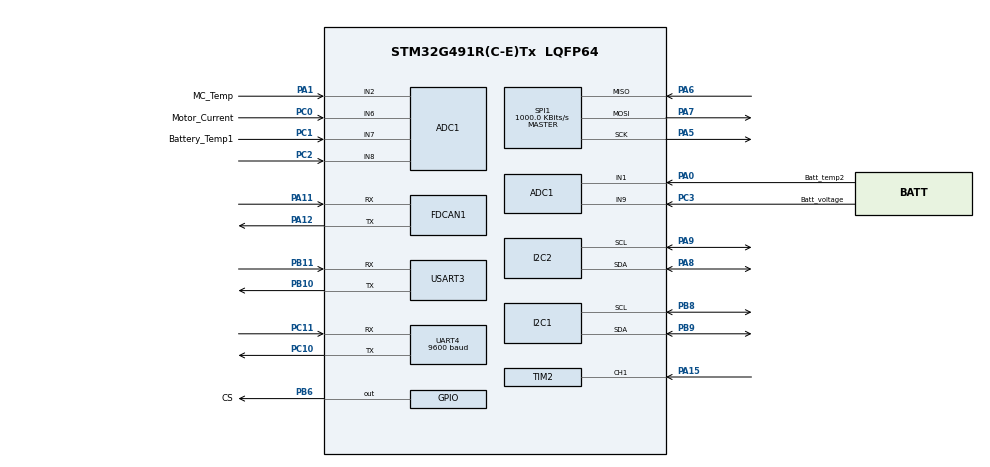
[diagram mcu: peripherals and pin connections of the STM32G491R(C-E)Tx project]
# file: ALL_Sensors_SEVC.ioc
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ADC1.Channel-13\#ChannelRegularConversion=ADC_CHANNEL_VREFINT
ADC1.Channel-14\#ChannelRegularConversion=ADC_CHANNEL_6
ADC1.Channel-15\#ChannelRegularConversion=ADC_CHANNEL_8
ADC1.Channel-16\#ChannelRegularConversion=ADC_CHANNEL_9
ADC1.Channel-17\#ChannelRegularConversion=ADC_CHANNEL_2
ADC1.Channel-18\#ChannelRegularConversion=ADC_CHANNEL_7
ADC1.Channel-19\#ChannelRegularConversion=ADC_CHANNEL_1
ADC1.NbrOfConversion=7
ADC1.NbrOfConversionFlag=1
ADC1.OffsetNumber-13\#ChannelRegularConversion=ADC_OFFSET_NONE
ADC1.OffsetNumber-14\#ChannelRegularConversion=ADC_OFFSET_NONE
ADC1.OffsetNumber-15\#ChannelRegularConversion=ADC_OFFSET_NONE
ADC1.OffsetNumber-16\#ChannelRegularConversion=ADC_OFFSET_NONE
ADC1.OffsetNumber-17\#ChannelRegularConversion=ADC_OFFSET_NONE
ADC1.OffsetNumber-18\#ChannelRegularConversion=ADC_OFFSET_NONE
ADC1.OffsetNumber-19\#ChannelRegularConversion=ADC_OFFSET_NONE
ADC1.Rank-13\#ChannelRegularConversion=1
ADC1.Rank-14\#ChannelRegularConversion=2
ADC1.Rank-15\#ChannelRegularConversion=3
ADC1.Rank-16\#ChannelRegularConversion=4
ADC1.Rank-17\#ChannelRegularConversion=5
ADC1.Rank-18\#ChannelRegularConversion=6
ADC1.Rank-19\#ChannelRegularConversion=7
ADC1.SamplingTime-13\#ChannelRegularConversion=ADC_SAMPLETIME_640CYCLES_5
ADC1.SamplingTime-14\#ChannelRegularConversion=ADC_SAMPLETIME_640CYCLES_5
ADC1.SamplingTime-15\#ChannelRegularConversion=ADC_SAMPLETIME_640CYCLES_5
ADC1.SamplingTime-16\#ChannelRegularConversion=ADC_SAMPLETIME_640CYCLES_5
ADC1.SamplingTime-17\#ChannelRegularConversion=ADC_SAMPLETIME_640CYCLES_5
ADC1.SamplingTime-18\#ChannelRegularConversion=ADC_SAMPLETIME_640CYCLES_5
ADC1.SamplingTime-19\#ChannelRegularConversion=ADC_SAMPLETIME_640CYCLES_5
ADC1.master=1
Dma.ADC1.0.Direction=DMA_PERIPH_TO_MEMORY
Dma.ADC1.0.EventEnable=DISABLE
Dma.ADC1.0.Instance=DMA1_Channel1
Dma.ADC1.0.MemDataAlignment=DMA_MDATAALIGN_HALFWORD
Dma.ADC1.0.MemInc=DMA_MINC_ENABLE
Dma.ADC1.0.Mode=DMA_NORMAL
Dma.ADC1.0.PeriphDataAlignment=DMA_PDATAALIGN_HALFWORD
Dma.ADC1.0.PeriphInc=DMA_PINC_DISABLE
Dma.ADC1.0.Polarity=HAL_DMAMUX_REQ_GEN_RISING
Dma.ADC1.0.Priority=DMA_PRIORITY_HIGH
Dma.ADC1.0.RequestNumber=1
Dma.ADC1.0.SignalID=NONE
Dma.ADC1.0.SyncEnable=DISABLE
Dma.ADC1.0.SyncPolarity=HAL_DMAMUX_SYNC_NO_EVENT
Dma.ADC1.0.SyncRequestNumber=1
Dma.ADC1.0.SyncSignalID=NONE
Dma.Request0=ADC1
Dma.Request1=UART4_RX
Dma.Request2=UART4_TX
Dma.Request3=SPI1_RX
Dma.Request4=SPI1_TX
Dma.Request5=TIM2_CH1
Dma.SPI1_RX.3.Direction=DMA_PERIPH_TO_MEMORY
Dma.SPI1_RX.3.EventEnable=DISABLE
Dma.SPI1_RX.3.Instance=DMA1_Channel4
Dma.SPI1_RX.3.MemDataAlignment=DMA_MDATAALIGN_BYTE
Dma.SPI1_RX.3.MemInc=DMA_MINC_ENABLE
Dma.SPI1_RX.3.Mode=DMA_NORMAL
Dma.SPI1_RX.3.PeriphDataAlignment=DMA_PDATAALIGN_BYTE
Dma.SPI1_RX.3.PeriphInc=DMA_PINC_DISABLE
Dma.SPI1_RX.3.Polarity=HAL_DMAMUX_REQ_GEN_RISING
Dma.SPI1_RX.3.Priority=DMA_PRIORITY_LOW
Dma.SPI1_RX.3.RequestNumber=1
Dma.SPI1_RX.3.SignalID=NONE
Dma.SPI1_RX.3.SyncEnable=DISABLE
Dma.SPI1_RX.3.SyncPolarity=HAL_DMAMUX_SYNC_NO_EVENT
Dma.SPI1_RX.3.SyncRequestNumber=1
Dma.SPI1_RX.3.SyncSignalID=NONE
Dma.SPI1_TX.4.Direction=DMA_MEMORY_TO_PERIPH
Dma.SPI1_TX.4.EventEnable=DISABLE
Dma.SPI1_TX.4.Instance=DMA1_Channel5
Dma.SPI1_TX.4.MemDataAlignment=DMA_MDATAALIGN_BYTE
Dma.SPI1_TX.4.MemInc=DMA_MINC_ENABLE
Dma.SPI1_TX.4.Mode=DMA_NORMAL
Dma.SPI1_TX.4.PeriphDataAlignment=DMA_PDATAALIGN_BYTE
Dma.SPI1_TX.4.PeriphInc=DMA_PINC_DISABLE
Dma.SPI1_TX.4.Polarity=HAL_DMAMUX_REQ_GEN_RISING
Dma.SPI1_TX.4.Priority=DMA_PRIORITY_VERY_HIGH
Dma.SPI1_TX.4.RequestNumber=1
Dma.SPI1_TX.4.SignalID=NONE
Dma.SPI1_TX.4.SyncEnable=DISABLE
Dma.SPI1_TX.4.SyncPolarity=HAL_DMAMUX_SYNC_NO_EVENT
Dma.SPI1_TX.4.SyncRequestNumber=1
Dma.SPI1_TX.4.SyncSignalID=NONE
Dma.TIM2_CH1.5.Direction=DMA_PERIPH_TO_MEMORY
Dma.TIM2_CH1.5.EventEnable=DISABLE
Dma.TIM2_CH1.5.Instance=DMA1_Channel6
Dma.TIM2_CH1.5.MemDataAlignment=DMA_MDATAALIGN_WORD
Dma.TIM2_CH1.5.MemInc=DMA_MINC_ENABLE
Dma.TIM2_CH1.5.Mode=DMA_CIRCULAR
Dma.TIM2_CH1.5.PeriphDataAlignment=DMA_PDATAALIGN_WORD
Dma.TIM2_CH1.5.PeriphInc=DMA_PINC_DISABLE
Dma.TIM2_CH1.5.Polarity=HAL_DMAMUX_REQ_GEN_RISING
Dma.TIM2_CH1.5.Priority=DMA_PRIORITY_LOW
Dma.TIM2_CH1.5.RequestNumber=1
Dma.TIM2_CH1.5.SignalID=NONE
Dma.TIM2_CH1.5.SyncEnable=DISABLE
Dma.TIM2_CH1.5.SyncPolarity=HAL_DMAMUX_SYNC_NO_EVENT
Dma.TIM2_CH1.5.SyncRequestNumber=1
Dma.TIM2_CH1.5.SyncSignalID=NONE
Dma.UART4_RX.1.Direction=DMA_PERIPH_TO_MEMORY
Dma.UART4_RX.1.EventEnable=DISABLE
Dma.UART4_RX.1.Instance=DMA1_Channel2
Dma.UART4_RX.1.MemDataAlignment=DMA_MDATAALIGN_BYTE
Dma.UART4_RX.1.MemInc=DMA_MINC_ENABLE
Dma.UART4_RX.1.Mode=DMA_NORMAL
Dma.UART4_RX.1.PeriphDataAlignment=DMA_PDATAALIGN_BYTE
Dma.UART4_RX.1.PeriphInc=DMA_PINC_DISABLE
Dma.UART4_RX.1.Polarity=HAL_DMAMUX_REQ_GEN_RISING
Dma.UART4_RX.1.Priority=DMA_PRIORITY_MEDIUM
Dma.UART4_RX.1.RequestNumber=1
Dma.UART4_RX.1.SignalID=NONE
Dma.UART4_RX.1.SyncEnable=DISABLE
Dma.UART4_RX.1.SyncPolarity=HAL_DMAMUX_SYNC_NO_EVENT
Dma.UART4_RX.1.SyncRequestNumber=1
Dma.UART4_RX.1.SyncSignalID=NONE
Dma.UART4_TX.2.Direction=DMA_MEMORY_TO_PERIPH
Dma.UART4_TX.2.EventEnable=DISABLE
Dma.UART4_TX.2.Instance=DMA1_Channel3
Dma.UART4_TX.2.MemDataAlignment=DMA_MDATAALIGN_BYTE
Dma.UART4_TX.2.MemInc=DMA_MINC_ENABLE
Dma.UART4_TX.2.Mode=DMA_NORMAL
Dma.UART4_TX.2.PeriphDataAlignment=DMA_PDATAALIGN_BYTE
Dma.UART4_TX.2.PeriphInc=DMA_PINC_DISABLE
Dma.UART4_TX.2.Polarity=HAL_DMAMUX_REQ_GEN_RISING
Dma.UART4_TX.2.Priority=DMA_PRIORITY_MEDIUM
Dma.UART4_TX.2.RequestNumber=1
Dma.UART4_TX.2.SignalID=NONE
Dma.UART4_TX.2.SyncEnable=DISABLE
Dma.UART4_TX.2.SyncPolarity=HAL_DMAMUX_SYNC_NO_EVENT
Dma.UART4_TX.2.SyncRequestNumber=1
Dma.UART4_TX.2.SyncSignalID=NONE
FATFS._USE_LABEL=1
FATFS._USE_LFN=3
FDCAN1.AutoRetransmission=ENABLE
FDCAN1.CalculateBaudRateNominal=62500
FDCAN1.CalculateTimeBitNominal=16000
FDCAN1.CalculateTimeQuantumNominal=500.0
FDCAN1.DataPrescaler=8
FDCAN1.DataTimeSeg1=2
FDCAN1.FrameFormat=FDCAN_FRAME_FD_NO_BRS
FDCAN1.NominalPrescaler=8
FDCAN1.NominalSyncJumpWidth=5
FDCAN1.NominalTimeSeg1=26
FDCAN1.NominalTimeSeg2=5
FDCAN1.StdFiltersNbr=1
I2C1.Timing=0x00503D58
I2C2.Timing=0x00503D58
Mcu.Family=STM32G4
Mcu.Name=STM32G491R(C-E)Tx
Mcu.Package=LQFP64
NVIC.DMA1_Channel1_IRQn=true\:0\:0\:false\:false\:true\:false\:true\:true
NVIC.DMA1_Channel2_IRQn=true\:0\:0\:false\:false\:true\:false\:true\:true
NVIC.DMA1_Channel3_IRQn=true\:0\:0\:false\:false\:true\:false\:true\:true
NVIC.DMA1_Channel4_IRQn=true\:0\:0\:false\:false\:true\:false\:true\:true
NVIC.DMA1_Channel5_IRQn=true\:0\:0\:false\:false\:true\:false\:true\:true
NVIC.DMA1_Channel6_IRQn=true\:0\:0\:false\:false\:true\:false\:true\:true
NVIC.FDCAN1_IT0_IRQn=true\:0\:0\:false\:false\:true\:true\:true\:true
NVIC.I2C2_ER_IRQn=true\:0\:0\:false\:false\:true\:true\:true\:true
NVIC.I2C2_EV_IRQn=true\:0\:0\:false\:false\:true\:true\:true\:true
NVIC.PriorityGroup=NVIC_PRIORITYGROUP_4
PA0.GPIO_Label=Batt_temp2
PA0.Mode=IN1-Single-Ended
PA0.Signal=ADC1_IN1
PA1.GPIO_Label=MC_Temp
PA1.Mode=IN2-Single-Ended
PA1.Signal=ADC1_IN2
PA11.Mode=FDCAN_Activate
PA11.Signal=FDCAN1_RX
PA12.Mode=FDCAN_Activate
PA12.Signal=FDCAN1_TX
PA13.Mode=Serial_Wire
PA13.Signal=SYS_JTMS-SWDIO
PA14.Mode=Serial_Wire
PA14.Signal=SYS_JTCK-SWCLK
PA15.Signal=S_TIM2_CH1
PA5.Mode=Full_Duplex_Master
PA5.Signal=SPI1_SCK
PA6.Mode=Full_Duplex_Master
PA6.Signal=SPI1_MISO
PA7.Mode=Full_Duplex_Master
PA7.Signal=SPI1_MOSI
PA8.GPIO_Pu=GPIO_PULLUP
PA8.GPIO_Speed=GPIO_SPEED_FREQ_VERY_HIGH
PA8.Mode=I2C
PA8.Signal=I2C2_SDA
PA9.GPIO_Pu=GPIO_PULLUP
PA9.GPIO_Speed=GPIO_SPEED_FREQ_VERY_HIGH
PA9.Mode=I2C
PA9.Signal=I2C2_SCL
PB10.Mode=Asynchronous
PB10.Signal=USART3_TX
PB11.Mode=Asynchronous
PB11.Signal=USART3_RX
PB6.GPIO_Label=CS
PB6.GPIO_Speed=GPIO_SPEED_FREQ_HIGH
PB6.PinState=GPIO_PIN_SET
PB6.Signal=GPIO_Output
PB8-BOOT0.GPIO_FM8=__NULL
PB8-BOOT0.GPIO_Pu=GPIO_PULLUP
PB8-BOOT0.GPIO_Speed=GPIO_SPEED_FREQ_VERY_HIGH
PB8-BOOT0.Mode=I2C
PB8-BOOT0.Signal=I2C1_SCL
PB9.GPIO_FM9=__NULL
PB9.GPIO_Mode=GPIO_MODE_AF_OD
PB9.GPIO_Pu=GPIO_PULLUP
PB9.GPIO_Speed=GPIO_SPEED_FREQ_VERY_HIGH
PB9.Mode=I2C
PB9.Signal=I2C1_SDA
PC0.GPIO_Label=Motor_Current
PC0.Mode=IN6-Single-Ended
PC0.Signal=ADC1_IN6
PC1.GPIO_Label=Battery_Temp1
PC1.Mode=IN7-Single-Ended
PC1.Signal=ADC1_IN7
PC10.Mode=Asynchronous
PC10.Signal=UART4_TX
PC11.Mode=Asynchronous
PC11.Signal=UART4_RX
PC2.Mode=IN8-Single-Ended
PC2.Signal=ADC1_IN8
PC3.GPIO_Label=Batt_voltage
PC3.Mode=IN9-Single-Ended
PC3.Signal=ADC1_IN9
ProjectManager.HeapSize=0x200
ProjectManager.StackSize=0x400
ProjectManager.TargetToolchain=STM32CubeIDE
RCC.ADC12Freq_Value=16000000
RCC.ADC345Freq_Value=16000000
RCC.AHBFreq_Value=16000000
RCC.APB1Freq_Value=16000000
RCC.APB1TimFreq_Value=16000000
RCC.APB2Freq_Value=16000000
RCC.APB2TimFreq_Value=16000000
RCC.CortexFreq_Value=16000000
RCC.EXTERNAL_CLOCK_VALUE=12288000
RCC.HCLKFreq_Value=16000000
RCC.HSE_VALUE=24000000
RCC.HSI48_VALUE=48000000
RCC.HSI_VALUE=16000000
RCC.LSE_VALUE=32768
RCC.PLLM=RCC_PLLM_DIV4
RCC.PLLN=85
RCC.RTCClockSelection=RCC_RTCCLKSOURCE_LSE
RCC.SYSCLKFreq_VALUE=16000000
RCC.USBFreq_Value=48000000
RCC.VCOOutputFreq_Value=340000000
SH.S_TIM2_CH1.0=TIM2_CH1,Input_Capture1_from_TI1
SPI1.BaudRatePrescaler=SPI_BAUDRATEPRESCALER_16
SPI1.CalculateBaudRate=1000.0 KBits/s
SPI1.DataSize=SPI_DATASIZE_8BIT
SPI1.Direction=SPI_DIRECTION_2LINES
SPI1.Mode=SPI_MODE_MASTER
SPI1.VirtualType=VM_MASTER
TIM2.Channel-Input_Capture1_from_TI1=TIM_CHANNEL_1
TIM2.PeriodNoDither=65535
TIM2.Prescaler=15
TIM3.AutoReloadPreload=TIM_AUTORELOAD_PRELOAD_ENABLE
TIM3.PeriodNoDither=199
TIM3.Prescaler=15999
TIM3.TIM_MasterOutputTrigger=TIM_TRGO_UPDATE
UART4.BaudRate=9600
USART3.VirtualMode-Asynchronous=VM_ASYNC
VP_ADC1_Vref_Input.Mode=IN-Vrefint
VP_FATFS_VS_Generic.Mode=User_defined
VP_SYS_VS_DBSignals.Mode=DisableDeadBatterySignals
VP_TIM3_VS_ClockSourceINT.Mode=Internal
board=NUCLEO-G491RE

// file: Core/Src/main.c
	/* USER CODE BEGIN Header */
	/**
	  ******************************************************************************
	  * @file           : main.c
	  * @brief          : Main program body
	  ******************************************************************************
	  * @attention
	  *
	  * Copyright (c) 2025 STMicroelectronics.
	  * All rights reserved.
	  *
	  * This software is licensed under terms that can be found in the LICENSE file
	  * in the root directory of this software component.
	  * If no LICENSE file comes with this software, it is provided AS-IS.
	  *
	  ******************************************************************************
	  */
	/* USER CODE END Header */
	/* Includes ------------------------------------------------------------------*/
	#include "main.h"
	#include "app_fatfs.h"

	/* Private includes ----------------------------------------------------------*/
	/* USER CODE BEGIN Includes */
	#include <motor_temp.h>
	//#include <analog_sensor.h>
	//#include <rpm.h>
	#include <imu.h>
	#include <bms.h>
	#include <a_sensor.h>
	#include "sd_functions.h"
	#include "stdio.h"
	#define CAPTURE_BUF_LEN 8
	#define RPM_TIMEOUT_MS 2500
	#define pulseonerev 6
	/* USER CODE END Includes */

	/* Private typedef -----------------------------------------------------------*/

	/* Private define ------------------------------------------------------------*/

	/* Private macro -------------------------------------------------------------*/

	/* Private variables ---------------------------------------------------------*/
	ADC_HandleTypeDef hadc1;
	DMA_HandleTypeDef hdma_adc1;

	FDCAN_HandleTypeDef hfdcan1;

	I2C_HandleTypeDef hi2c1;
	I2C_HandleTypeDef hi2c2;

	SPI_HandleTypeDef hspi1;
	DMA_HandleTypeDef hdma_spi1_rx;
	DMA_HandleTypeDef hdma_spi1_tx;

	TIM_HandleTypeDef htim2;
	TIM_HandleTypeDef htim3;
	DMA_HandleTypeDef hdma_tim2_ch1;

	UART_HandleTypeDef huart4;
	UART_HandleTypeDef huart3;
	DMA_HandleTypeDef hdma_uart4_rx;
	DMA_HandleTypeDef hdma_uart4_tx;

	/* Private function prototypes -----------------------------------------------*/
	void SystemClock_Config(void);
	static void MX_GPIO_Init(void);
	static void MX_DMA_Init(void);
	static void MX_I2C1_Init(void);
	static void MX_ADC1_Init(void);
	static void MX_TIM2_Init(void);
	static void MX_TIM3_Init(void);
	static void MX_UART4_Init(void);
	static void MX_I2C2_Init(void);
	static void MX_FDCAN1_Init(void);
	static void MX_SPI1_Init(void);
	static void MX_USART3_UART_Init(void);

	/* Private user code ---------------------------------------------------------*/
	/* USER CODE BEGIN 0 */

	extern float totalVoltage;
	extern float soc;
	int motor_temp;
	extern uint8_t motor_current;
	int i=0;
	FRESULT mount_sd;
	FRESULT unmount_sd;
	FDCAN_TxHeaderTypeDef TxHeader;
	FDCAN_RxHeaderTypeDef RxHeader;
	uint8_t TxData[16];
	uint8_t RxData[16];
	void HAL_FDCAN_RxFifo0Callback(FDCAN_HandleTypeDef *hfdcan, uint32_t RxFifo0ITs)
	{

		if(HAL_FDCAN_GetRxMessage(hfdcan,FDCAN_RX_FIFO0,&RxHeader,RxData)!=HAL_OK)
		{
			Error_Handler();
		}
		if(HAL_FDCAN_ActivateNotification(hfdcan,FDCAN_IT_RX_FIFO0_NEW_MESSAGE,0)!=HAL_OK)
			{
				Error_Handler();
			}
	}
	//rpm
	//
		volatile uint16_t ic_buf[CAPTURE_BUF_LEN];
		volatile uint8_t edge_seen = 0;

		volatile uint32_t period_us = 0;
		volatile float rpm = 0.0f;
		volatile uint32_t last_edge_tick = 0;
		uint16_t rpm_int=0;
		void Process_DMA_Captures(uint8_t start, uint8_t end)
		{
			static uint16_t last_capture;
			static uint8_t first = 1;

			uint32_t sum_dt = 0;
			uint32_t edges = 0;

			for (uint8_t i = start; i < end; i++)
			{
				uint16_t now = ic_buf[i];

				if (first)
				{
					last_capture = now;
					first = 0;
					continue;
				}

				uint16_t dt = (uint16_t)(now - last_capture);
				last_capture = now;

				if (dt)
				{
					sum_dt += dt;
					edges++;
				}
			}

			if (edges)
			{
				float avg_ticks = (float)sum_dt / edges;
				rpm = 60.0f * 1e6f / (avg_ticks*pulseonerev);
				last_edge_tick = HAL_GetTick();
			}
		}
		void HAL_TIM_IC_CaptureHalfCpltCallback(TIM_HandleTypeDef *htim)
		{
		    if (htim->Instance == TIM2)
		    {

		        Process_DMA_Captures(0, CAPTURE_BUF_LEN / 2);

		    }
		}

		void HAL_TIM_IC_CaptureCpltCallback(TIM_HandleTypeDef *htim)
		{
		    if (htim->Instance == TIM2)
		    {

		        Process_DMA_Captures(CAPTURE_BUF_LEN / 2, CAPTURE_BUF_LEN);

		    }
		}
	//
	/* USER CODE END 0 */

	/**
	  * @brief  The application entry point.
	  * @retval int
	  */
	int main(void)
	{

	  /* MCU Configuration--------------------------------------------------------*/

	  /* Reset of all peripherals, Initializes the Flash interface and the Systick. */
	  HAL_Init();

	  /* Configure the system clock */
	  SystemClock_Config();

	  /* Initialize all configured peripherals */
	  MX_GPIO_Init();
	  MX_DMA_Init();
	  MX_I2C1_Init();
	  MX_ADC1_Init();
	  MX_TIM2_Init();
	  MX_TIM3_Init();
	  MX_UART4_Init();
	  MX_I2C2_Init();
	  MX_FDCAN1_Init();
	  MX_SPI1_Init();
	  MX_USART3_UART_Init();
	  /* USER CODE BEGIN 2 */
	  //can
	  if (HAL_FDCAN_Start(&hfdcan1)!=HAL_OK)
		   {
			Error_Handler();
		   }
		   if(HAL_FDCAN_ActivateNotification(&hfdcan1,FDCAN_IT_RX_FIFO0_NEW_MESSAGE,0)!=HAL_OK)
		   {
			Error_Handler();
		   }

		   TxHeader.Identifier =0x33;
		   TxHeader.IdType =FDCAN_STANDARD_ID;
		   TxHeader.DataLength =FDCAN_DLC_BYTES_16;
		   TxHeader.ErrorStateIndicator =FDCAN_ESI_ACTIVE;
		   TxHeader.BitRateSwitch =FDCAN_BRS_OFF;
		   TxHeader.FDFormat =FDCAN_FD_CAN;
		   TxHeader.TxEventFifoControl =FDCAN_NO_TX_EVENTS;
		   TxHeader.MessageMarker=0;

	//
	 // test_imu();
	  set_mode();
	  HAL_ADCEx_Calibration_Start(&hadc1, ADC_SINGLE_ENDED);
	  //start_timer();
	  //sensor_calliberation();
	  HAL_TIM_IC_Start_DMA(
			  &htim2,
			  TIM_CHANNEL_1,
			  (uint32_t*)ic_buf,
			  CAPTURE_BUF_LEN
		  );
	  //
	  //sd card
	  //
	 mount_sd=sd_mount();

	  //sd_unmount();
	  HAL_Delay(1000);
	  //start_timer();
	  //HAL_TIM_Base_Start_IT(&htim3);
	  /* USER CODE END 2 */

	  /* Infinite loop */
	  while (1)
	  {

		/* USER CODE BEGIN 3 */

		  Calculate_Vref();
		  a_sensor_value ();
		  readBasicInfo();
		  get_motor_temp(&motor_temp);
		  //get_rpm();
		  get_imu_data();
		  if (HAL_GetTick() - last_edge_tick > RPM_TIMEOUT_MS)
														{
															rpm = 0.0f;
														}

	TxData[0]=((int)rpm & 0xFF);
	TxData[1]=(((int)rpm >> 8) & 0xFF);
	TxData[2]=totalVoltage;
	TxData[3]=bt1;
	TxData[4]=bt2;
	TxData[5]=soc;
	TxData[6]=((int)moc & 0xFF);
	TxData[7]=(((int)moc >> 8) & 0xFF);
	TxData[8]=motor_temp;
	TxData[9]=mct;

		  if (HAL_FDCAN_AddMessageToTxFifoQ(&hfdcan1, &TxHeader, TxData)!= HAL_OK)
															   {
												//watchdog
															   }

		  char logbuf[320];

		  snprintf(logbuf, sizeof(logbuf),
			  "MOC:%.2f ,MPPTC:%.2f ,BV:%.2f, MCT:%.1f, BT1:%.1f, BT2:%.1f,MPPTCF:%.2f,VREF:%.2f,TV:%.2f,SOC:%.2f,"
			  ",AX:%.4f,AY:%.4f,AZ:%.4f,YAW:%.4f,ROLL:%.4f,PITCH:%.4f,RPM:%.0f,MT:%d,LAT:  %d  %d  %d%d%d%d,LON:  %d  %d%d  %d%d%d%d\r\n",
			  moc, mpptc, bv, mct, bt1, bt2, mpptcf, vref_voltage, totalVoltage,
			  soc,
			  acc_x, acc_y, acc_z,
			  yaw, roll, pitch,
			  rpm, motor_temp,RxData[0],RxData[1],RxData[2],RxData[3],RxData[4],RxData[5],RxData[7],RxData[8],RxData[9],RxData[10],RxData[11],RxData[12],RxData[13]);
		 if(mount_sd!=FR_OK)
		  {
			 // sd_unmount();
			  mount_sd=sd_mount();

		  }

		  if(sd_append_file("File6.txt", logbuf)!=FR_OK)
		  {
			 // sd_unmount();
			  mount_sd=sd_mount();
		  }

		  //for setting the imu in fusion mode so that roll, pitch and yaw can be get
		 /* if(count_for_imu_fusion_mode >= 40)  //used the same timer for rpm one just increase the variable
		  {                                    // for every timer interrupt and 40 is used because rpm timer is
			   count_for_imu_fusion_mode = 0;  // for 250ms and I needed to set the imu to fusion mode every 10 sec
											   //  so 1000ms/250ms = 4 and 10*4 = 40 counts;
			  set_mode();                      // function to set imu in the fusion mode;
		  }*/

	  }
	  /* USER CODE END 3 */
	}

	/**
	  * @brief System Clock Configuration
	  * @retval None
	  */
	void SystemClock_Config(void)
	{
	  RCC_OscInitTypeDef RCC_OscInitStruct = {0};
	  RCC_ClkInitTypeDef RCC_ClkInitStruct = {0};

	  /** Configure the main internal regulator output voltage
	  */
	  HAL_PWREx_ControlVoltageScaling(PWR_REGULATOR_VOLTAGE_SCALE1);

	  /** Initializes the RCC Oscillators according to the specified parameters
	  * in the RCC_OscInitTypeDef structure.
	  */
	  RCC_OscInitStruct.OscillatorType = RCC_OSCILLATORTYPE_HSI;
	  RCC_OscInitStruct.HSIState = RCC_HSI_ON;
	  RCC_OscInitStruct.HSICalibrationValue = RCC_HSICALIBRATION_DEFAULT;
	  RCC_OscInitStruct.PLL.PLLState = RCC_PLL_NONE;
	  if (HAL_RCC_OscConfig(&RCC_OscInitStruct) != HAL_OK)
	  {
		Error_Handler();
	  }

	  /** Initializes the CPU, AHB and APB buses clocks
	  */
	  RCC_ClkInitStruct.ClockType = RCC_CLOCKTYPE_HCLK|RCC_CLOCKTYPE_SYSCLK
								  |RCC_CLOCKTYPE_PCLK1|RCC_CLOCKTYPE_PCLK2;
	  RCC_ClkInitStruct.SYSCLKSource = RCC_SYSCLKSOURCE_HSI;
	  RCC_ClkInitStruct.AHBCLKDivider = RCC_SYSCLK_DIV1;
	  RCC_ClkInitStruct.APB1CLKDivider = RCC_HCLK_DIV1;
	  RCC_ClkInitStruct.APB2CLKDivider = RCC_HCLK_DIV1;

	  if (HAL_RCC_ClockConfig(&RCC_ClkInitStruct, FLASH_LATENCY_0) != HAL_OK)
	  {
		Error_Handler();
	  }
	}

	/**
	  * @brief ADC1 Initialization Function
	  * @param None
	  * @retval None
	  */
	static void MX_ADC1_Init(void)
	{

	  ADC_MultiModeTypeDef multimode = {0};
	  ADC_ChannelConfTypeDef sConfig = {0};

	  /** Common config
	  */
	  hadc1.Instance = ADC1;
	  hadc1.Init.ClockPrescaler = ADC_CLOCK_SYNC_PCLK_DIV2;
	  hadc1.Init.Resolution = ADC_RESOLUTION_12B;
	  hadc1.Init.DataAlign = ADC_DATAALIGN_RIGHT;
	  hadc1.Init.GainCompensation = 0;
	  hadc1.Init.ScanConvMode = ADC_SCAN_ENABLE;
	  hadc1.Init.EOCSelection = ADC_EOC_SINGLE_CONV;
	  hadc1.Init.LowPowerAutoWait = DISABLE;
	  hadc1.Init.ContinuousConvMode = DISABLE;
	  hadc1.Init.NbrOfConversion = 7;
	  hadc1.Init.DiscontinuousConvMode = DISABLE;
	  hadc1.Init.ExternalTrigConv = ADC_SOFTWARE_START;
	  hadc1.Init.ExternalTrigConvEdge = ADC_EXTERNALTRIGCONVEDGE_NONE;
	  hadc1.Init.DMAContinuousRequests = DISABLE;
	  hadc1.Init.Overrun = ADC_OVR_DATA_PRESERVED;
	  hadc1.Init.OversamplingMode = DISABLE;
	  if (HAL_ADC_Init(&hadc1) != HAL_OK)
	  {
		Error_Handler();
	  }

	  /** Configure the ADC multi-mode
	  */
	  multimode.Mode = ADC_MODE_INDEPENDENT;
	  if (HAL_ADCEx_MultiModeConfigChannel(&hadc1, &multimode) != HAL_OK)
	  {
		Error_Handler();
	  }

	  /** Configure Regular Channel
	  */
	  sConfig.Channel = ADC_CHANNEL_VREFINT;
	  sConfig.Rank = ADC_REGULAR_RANK_1;
	  sConfig.SamplingTime = ADC_SAMPLETIME_640CYCLES_5;
	  sConfig.SingleDiff = ADC_SINGLE_ENDED;
	  sConfig.OffsetNumber = ADC_OFFSET_NONE;
	  sConfig.Offset = 0;
	  if (HAL_ADC_ConfigChannel(&hadc1, &sConfig) != HAL_OK)
	  {
		Error_Handler();
	  }

	  /** Configure Regular Channel
	  */
	  sConfig.Channel = ADC_CHANNEL_6;
	  sConfig.Rank = ADC_REGULAR_RANK_2;
	  if (HAL_ADC_ConfigChannel(&hadc1, &sConfig) != HAL_OK)
	  {
		Error_Handler();
	  }

	  /** Configure Regular Channel
	  */
	  sConfig.Channel = ADC_CHANNEL_8;
	  sConfig.Rank = ADC_REGULAR_RANK_3;
	  if (HAL_ADC_ConfigChannel(&hadc1, &sConfig) != HAL_OK)
	  {
		Error_Handler();
	  }

	  /** Configure Regular Channel
	  */
	  sConfig.Channel = ADC_CHANNEL_9;
	  sConfig.Rank = ADC_REGULAR_RANK_4;
	  if (HAL_ADC_ConfigChannel(&hadc1, &sConfig) != HAL_OK)
	  {
		Error_Handler();
	  }

	  /** Configure Regular Channel
	  */
	  sConfig.Channel = ADC_CHANNEL_2;
	  sConfig.Rank = ADC_REGULAR_RANK_5;
	  if (HAL_ADC_ConfigChannel(&hadc1, &sConfig) != HAL_OK)
	  {
		Error_Handler();
	  }

	  /** Configure Regular Channel
	  */
	  sConfig.Channel = ADC_CHANNEL_7;
	  sConfig.Rank = ADC_REGULAR_RANK_6;
	  if (HAL_ADC_ConfigChannel(&hadc1, &sConfig) != HAL_OK)
	  {
		Error_Handler();
	  }

	  /** Configure Regular Channel
	  */
	  sConfig.Channel = ADC_CHANNEL_1;
	  sConfig.Rank = ADC_REGULAR_RANK_7;
	  if (HAL_ADC_ConfigChannel(&hadc1, &sConfig) != HAL_OK)
	  {
		Error_Handler();
	  }

	}

	/**
	  * @brief FDCAN1 Initialization Function
	  * @param None
	  * @retval None
	  */
	static void MX_FDCAN1_Init(void)
	{

	  hfdcan1.Instance = FDCAN1;
	  hfdcan1.Init.ClockDivider = FDCAN_CLOCK_DIV1;
	  hfdcan1.Init.FrameFormat = FDCAN_FRAME_FD_NO_BRS;
	  hfdcan1.Init.Mode = FDCAN_MODE_NORMAL;
	  hfdcan1.Init.AutoRetransmission = ENABLE;
	  hfdcan1.Init.TransmitPause = DISABLE;
	  hfdcan1.Init.ProtocolException = DISABLE;
	  hfdcan1.Init.NominalPrescaler = 8;
	  hfdcan1.Init.NominalSyncJumpWidth = 5;
	  hfdcan1.Init.NominalTimeSeg1 = 26;
	  hfdcan1.Init.NominalTimeSeg2 = 5;
	  hfdcan1.Init.DataPrescaler = 8;
	  hfdcan1.Init.DataSyncJumpWidth = 1;
	  hfdcan1.Init.DataTimeSeg1 = 2;
	  hfdcan1.Init.DataTimeSeg2 = 1;
	  hfdcan1.Init.StdFiltersNbr = 1;
	  hfdcan1.Init.ExtFiltersNbr = 0;
	  hfdcan1.Init.TxFifoQueueMode = FDCAN_TX_FIFO_OPERATION;
	  if (HAL_FDCAN_Init(&hfdcan1) != HAL_OK)
	  {
		Error_Handler();
	  }
	  /* USER CODE BEGIN FDCAN1_Init 2 */
	  FDCAN_FilterTypeDef sFilterConfig;
		   sFilterConfig.IdType =FDCAN_STANDARD_ID;
		   sFilterConfig.FilterIndex=0;
		   sFilterConfig.FilterType=FDCAN_FILTER_MASK;
		   sFilterConfig.FilterConfig =FDCAN_FILTER_DISABLE;
		   sFilterConfig.FilterID1 =0x11;
		   sFilterConfig.FilterID2 =0x7FF;
		   if(HAL_FDCAN_ConfigFilter(&hfdcan1,&sFilterConfig)!=HAL_OK){
			Error_Handler();
		   }
	  /* USER CODE END FDCAN1_Init 2 */

	}

	/**
	  * @brief I2C1 Initialization Function
	  * @param None
	  * @retval None
	  */
	static void MX_I2C1_Init(void)
	{

	  hi2c1.Instance = I2C1;
	  hi2c1.Init.Timing = 0x00503D58;
	  hi2c1.Init.OwnAddress1 = 0;
	  hi2c1.Init.AddressingMode = I2C_ADDRESSINGMODE_7BIT;
	  hi2c1.Init.DualAddressMode = I2C_DUALADDRESS_DISABLE;
	  hi2c1.Init.OwnAddress2 = 0;
	  hi2c1.Init.OwnAddress2Masks = I2C_OA2_NOMASK;
	  hi2c1.Init.GeneralCallMode = I2C_GENERALCALL_DISABLE;
	  hi2c1.Init.NoStretchMode = I2C_NOSTRETCH_DISABLE;
	  if (HAL_I2C_Init(&hi2c1) != HAL_OK)
	  {
		Error_Handler();
	  }

	  /** Configure Analogue filter
	  */
	  if (HAL_I2CEx_ConfigAnalogFilter(&hi2c1, I2C_ANALOGFILTER_ENABLE) != HAL_OK)
	  {
		Error_Handler();
	  }

	  /** Configure Digital filter
	  */
	  if (HAL_I2CEx_ConfigDigitalFilter(&hi2c1, 0) != HAL_OK)
	  {
		Error_Handler();
	  }

	}

	/**
	  * @brief I2C2 Initialization Function
	  * @param None
	  * @retval None
	  */
	static void MX_I2C2_Init(void)
	{

	  hi2c2.Instance = I2C2;
	  hi2c2.Init.Timing = 0x00503D58;
	  hi2c2.Init.OwnAddress1 = 0;
	  hi2c2.Init.AddressingMode = I2C_ADDRESSINGMODE_7BIT;
	  hi2c2.Init.DualAddressMode = I2C_DUALADDRESS_DISABLE;
	  hi2c2.Init.OwnAddress2 = 0;
	  hi2c2.Init.OwnAddress2Masks = I2C_OA2_NOMASK;
	  hi2c2.Init.GeneralCallMode = I2C_GENERALCALL_DISABLE;
	  hi2c2.Init.NoStretchMode = I2C_NOSTRETCH_DISABLE;
	  if (HAL_I2C_Init(&hi2c2) != HAL_OK)
	  {
		Error_Handler();
	  }

	  /** Configure Analogue filter
	  */
	  if (HAL_I2CEx_ConfigAnalogFilter(&hi2c2, I2C_ANALOGFILTER_ENABLE) != HAL_OK)
	  {
		Error_Handler();
	  }

	  /** Configure Digital filter
	  */
	  if (HAL_I2CEx_ConfigDigitalFilter(&hi2c2, 0) != HAL_OK)
	  {
		Error_Handler();
	  }

	}

	/**
	  * @brief SPI1 Initialization Function
	  * @param None
	  * @retval None
	  */
	static void MX_SPI1_Init(void)
	{

	  /* SPI1 parameter configuration*/
	  hspi1.Instance = SPI1;
	  hspi1.Init.Mode = SPI_MODE_MASTER;
	  hspi1.Init.Direction = SPI_DIRECTION_2LINES;
	  hspi1.Init.DataSize = SPI_DATASIZE_8BIT;
	  hspi1.Init.CLKPolarity = SPI_POLARITY_LOW;
	  hspi1.Init.CLKPhase = SPI_PHASE_1EDGE;
	  hspi1.Init.NSS = SPI_NSS_SOFT;
	  hspi1.Init.BaudRatePrescaler = SPI_BAUDRATEPRESCALER_16;
	  hspi1.Init.FirstBit = SPI_FIRSTBIT_MSB;
	  hspi1.Init.TIMode = SPI_TIMODE_DISABLE;
	  hspi1.Init.CRCCalculation = SPI_CRCCALCULATION_DISABLE;
	  hspi1.Init.CRCPolynomial = 7;
	  hspi1.Init.CRCLength = SPI_CRC_LENGTH_DATASIZE;
	  hspi1.Init.NSSPMode = SPI_NSS_PULSE_ENABLE;
	  if (HAL_SPI_Init(&hspi1) != HAL_OK)
	  {
		Error_Handler();
	  }

	}

	/**
	  * @brief TIM2 Initialization Function
	  * @param None
	  * @retval None
	  */
	static void MX_TIM2_Init(void)
	{

	  TIM_MasterConfigTypeDef sMasterConfig = {0};
	  TIM_IC_InitTypeDef sConfigIC = {0};

	  htim2.Instance = TIM2;
	  htim2.Init.Prescaler = 15;
	  htim2.Init.CounterMode = TIM_COUNTERMODE_UP;
	  htim2.Init.Period = 65535;
	  htim2.Init.ClockDivision = TIM_CLOCKDIVISION_DIV1;
	  htim2.Init.AutoReloadPreload = TIM_AUTORELOAD_PRELOAD_DISABLE;
	  if (HAL_TIM_IC_Init(&htim2) != HAL_OK)
	  {
		Error_Handler();
	  }
	  sMasterConfig.MasterOutputTrigger = TIM_TRGO_RESET;
	  sMasterConfig.MasterSlaveMode = TIM_MASTERSLAVEMODE_DISABLE;
	  if (HAL_TIMEx_MasterConfigSynchronization(&htim2, &sMasterConfig) != HAL_OK)
	  {
		Error_Handler();
	  }
	  sConfigIC.ICPolarity = TIM_INPUTCHANNELPOLARITY_RISING;
	  sConfigIC.ICSelection = TIM_ICSELECTION_DIRECTTI;
	  sConfigIC.ICPrescaler = TIM_ICPSC_DIV1;
	  sConfigIC.ICFilter = 0;
	  if (HAL_TIM_IC_ConfigChannel(&htim2, &sConfigIC, TIM_CHANNEL_1) != HAL_OK)
	  {
		Error_Handler();
	  }

	}

	/**
	  * @brief TIM3 Initialization Function
	  * @param None
	  * @retval None
	  */
	static void MX_TIM3_Init(void)
	{

	  TIM_ClockConfigTypeDef sClockSourceConfig = {0};
	  TIM_MasterConfigTypeDef sMasterConfig = {0};

	  htim3.Instance = TIM3;
	  htim3.Init.Prescaler = 15999;
	  htim3.Init.CounterMode = TIM_COUNTERMODE_UP;
	  htim3.Init.Period = 199;
	  htim3.Init.ClockDivision = TIM_CLOCKDIVISION_DIV1;
	  htim3.Init.AutoReloadPreload = TIM_AUTORELOAD_PRELOAD_ENABLE;
	  if (HAL_TIM_Base_Init(&htim3) != HAL_OK)
	  {
		Error_Handler();
	  }
	  sClockSourceConfig.ClockSource = TIM_CLOCKSOURCE_INTERNAL;
	  if (HAL_TIM_ConfigClockSource(&htim3, &sClockSourceConfig) != HAL_OK)
	  {
		Error_Handler();
	  }
	  sMasterConfig.MasterOutputTrigger = TIM_TRGO_UPDATE;
	  sMasterConfig.MasterSlaveMode = TIM_MASTERSLAVEMODE_DISABLE;
	  if (HAL_TIMEx_MasterConfigSynchronization(&htim3, &sMasterConfig) != HAL_OK)
	  {
		Error_Handler();
	  }

	}

	/**
	  * @brief UART4 Initialization Function
	  * @param None
	  * @retval None
	  */
	static void MX_UART4_Init(void)
	{

	  huart4.Instance = UART4;
	  huart4.Init.BaudRate = 9600;
	  huart4.Init.WordLength = UART_WORDLENGTH_8B;
	  huart4.Init.StopBits = UART_STOPBITS_1;
	  huart4.Init.Parity = UART_PARITY_NONE;
	  huart4.Init.Mode = UART_MODE_TX_RX;
	  huart4.Init.HwFlowCtl = UART_HWCONTROL_NONE;
	  huart4.Init.OverSampling = UART_OVERSAMPLING_16;
	  huart4.Init.OneBitSampling = UART_ONE_BIT_SAMPLE_DISABLE;
	  huart4.Init.ClockPrescaler = UART_PRESCALER_DIV1;
	  huart4.AdvancedInit.AdvFeatureInit = UART_ADVFEATURE_NO_INIT;
	  if (HAL_UART_Init(&huart4) != HAL_OK)
	  {
		Error_Handler();
	  }
	  if (HAL_UARTEx_SetTxFifoThreshold(&huart4, UART_TXFIFO_THRESHOLD_1_8) != HAL_OK)
	  {
		Error_Handler();
	  }
	  if (HAL_UARTEx_SetRxFifoThreshold(&huart4, UART_RXFIFO_THRESHOLD_1_8) != HAL_OK)
	  {
		Error_Handler();
	  }
	  if (HAL_UARTEx_DisableFifoMode(&huart4) != HAL_OK)
	  {
		Error_Handler();
	  }

	}

	/**
	  * @brief USART3 Initialization Function
	  * @param None
	  * @retval None
	  */
	static void MX_USART3_UART_Init(void)
	{

	  huart3.Instance = USART3;
	  huart3.Init.BaudRate = 115200;
	  huart3.Init.WordLength = UART_WORDLENGTH_8B;
	  huart3.Init.StopBits = UART_STOPBITS_1;
	  huart3.Init.Parity = UART_PARITY_NONE;
	  huart3.Init.Mode = UART_MODE_TX_RX;
	  huart3.Init.HwFlowCtl = UART_HWCONTROL_NONE;
	  huart3.Init.OverSampling = UART_OVERSAMPLING_16;
	  huart3.Init.OneBitSampling = UART_ONE_BIT_SAMPLE_DISABLE;
	  huart3.Init.ClockPrescaler = UART_PRESCALER_DIV1;
	  huart3.AdvancedInit.AdvFeatureInit = UART_ADVFEATURE_NO_INIT;
	  if (HAL_UART_Init(&huart3) != HAL_OK)
	  {
		Error_Handler();
	  }
	  if (HAL_UARTEx_SetTxFifoThreshold(&huart3, UART_TXFIFO_THRESHOLD_1_8) != HAL_OK)
	  {
		Error_Handler();
	  }
	  if (HAL_UARTEx_SetRxFifoThreshold(&huart3, UART_RXFIFO_THRESHOLD_1_8) != HAL_OK)
	  {
		Error_Handler();
	  }
	  if (HAL_UARTEx_DisableFifoMode(&huart3) != HAL_OK)
	  {
		Error_Handler();
	  }

	}

	/**
	  * Enable DMA controller clock
	  */
	static void MX_DMA_Init(void)
	{

	  /* DMA controller clock enable */
	  __HAL_RCC_DMAMUX1_CLK_ENABLE();
	  __HAL_RCC_DMA1_CLK_ENABLE();

	  /* DMA interrupt init */
	  /* DMA1_Channel1_IRQn interrupt configuration */
	  HAL_NVIC_SetPriority(DMA1_Channel1_IRQn, 0, 0);
	  HAL_NVIC_EnableIRQ(DMA1_Channel1_IRQn);
	  /* DMA1_Channel2_IRQn interrupt configuration */
	  HAL_NVIC_SetPriority(DMA1_Channel2_IRQn, 0, 0);
	  HAL_NVIC_EnableIRQ(DMA1_Channel2_IRQn);
	  /* DMA1_Channel3_IRQn interrupt configuration */
	  HAL_NVIC_SetPriority(DMA1_Channel3_IRQn, 0, 0);
	  HAL_NVIC_EnableIRQ(DMA1_Channel3_IRQn);
	  /* DMA1_Channel4_IRQn interrupt configuration */
	  HAL_NVIC_SetPriority(DMA1_Channel4_IRQn, 0, 0);
	  HAL_NVIC_EnableIRQ(DMA1_Channel4_IRQn);
	  /* DMA1_Channel5_IRQn interrupt configuration */
	  HAL_NVIC_SetPriority(DMA1_Channel5_IRQn, 0, 0);
	  HAL_NVIC_EnableIRQ(DMA1_Channel5_IRQn);
	  /* DMA1_Channel6_IRQn interrupt configuration */
	  HAL_NVIC_SetPriority(DMA1_Channel6_IRQn, 0, 0);
	  HAL_NVIC_EnableIRQ(DMA1_Channel6_IRQn);

	}

	/**
	  * @brief GPIO Initialization Function
	  * @param None
	  * @retval None
	  */
	static void MX_GPIO_Init(void)
	{
	  GPIO_InitTypeDef GPIO_InitStruct = {0};

	  /* GPIO Ports Clock Enable */
	  __HAL_RCC_GPIOC_CLK_ENABLE();
	  __HAL_RCC_GPIOA_CLK_ENABLE();
	  __HAL_RCC_GPIOB_CLK_ENABLE();

	  /*Configure GPIO pin Output Level */
	  HAL_GPIO_WritePin(CS_GPIO_Port, CS_Pin, GPIO_PIN_SET);

	  /*Configure GPIO pin : CS_Pin */
	  GPIO_InitStruct.Pin = CS_Pin;
	  GPIO_InitStruct.Mode = GPIO_MODE_OUTPUT_PP;
	  GPIO_InitStruct.Pull = GPIO_NOPULL;
	  GPIO_InitStruct.Speed = GPIO_SPEED_FREQ_HIGH;
	  HAL_GPIO_Init(CS_GPIO_Port, &GPIO_InitStruct);

	}

	/**
	  * @brief  This function is executed in case of error occurrence.
	  * @retval None
	  */
	void Error_Handler(void)
	{
	  __disable_irq();
	  while (1)
	  {
	  }
	}
	#ifdef USE_FULL_ASSERT
	/**
	  * @brief  Reports the name of the source file and the source line number
	  *         where the assert_param error has occurred.
	  * @param  file: pointer to the source file name
	  * @param  line: assert_param error line source number
	  * @retval None
	  */
	void assert_failed(uint8_t *file, uint32_t line)
	{
	}
	#endif /* USE_FULL_ASSERT */
